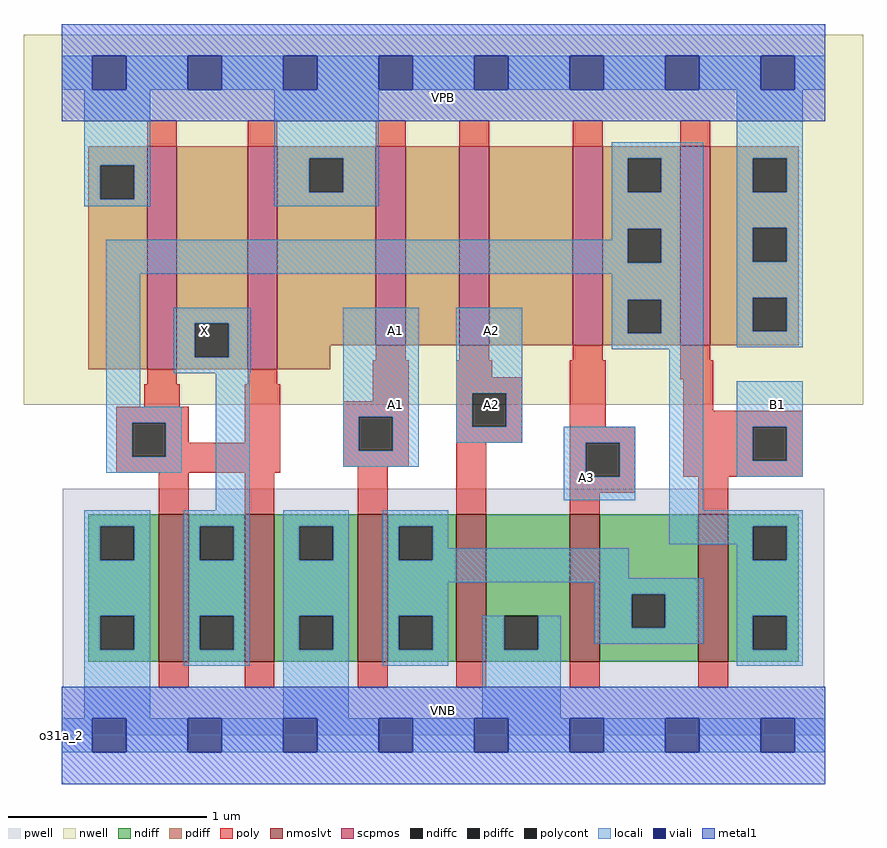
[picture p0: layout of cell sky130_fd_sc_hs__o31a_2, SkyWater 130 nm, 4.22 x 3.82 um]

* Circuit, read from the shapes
.subckt sky130_fd_sc_hs__o31a_2 A1 A2 A3 B1 VGND VNB VPB VPWR X
XM1 X n1 VGND VNB sky130_fd_pr__nfet_01v8_lvt w=0.74 l=0.15 m=2
XM2 n2 A1 VGND VNB sky130_fd_pr__nfet_01v8_lvt w=0.74 l=0.15
XM3 VGND A2 n2 VNB sky130_fd_pr__nfet_01v8_lvt w=0.74 l=0.15
XM4 n2 A3 VGND VNB sky130_fd_pr__nfet_01v8_lvt w=0.74 l=0.15
XM5 n1 B1 n2 VNB sky130_fd_pr__nfet_01v8_lvt w=0.74 l=0.15
XM6 X n1 VPWR VPB sky130_fd_pr__pfet_01v8 w=1.12 l=0.15 m=2
XM7 n3 A1 VPWR VPB sky130_fd_pr__pfet_01v8 w=1 l=0.15
XM8 n4 A2 n3 VPB sky130_fd_pr__pfet_01v8 w=1 l=0.15
XM9 n1 A3 n4 VPB sky130_fd_pr__pfet_01v8 w=1 l=0.15
XM10 VPWR B1 n1 VPB sky130_fd_pr__pfet_01v8 w=1 l=0.15
.ends

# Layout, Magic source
magic
tech sky130A
magscale 1 2
<< nwell >>
rect -38 332 806 704
<< pwell >>
rect 1 49 767 248
rect 0 0 768 49
<< scpmos >>
rect 86 368 116 592
rect 187 368 217 592
rect 316 392 346 592
rect 400 392 430 592
rect 514 392 544 592
rect 622 392 652 592
<< nmoslvt >>
rect 98 74 128 222
rect 184 74 214 222
rect 298 74 328 222
rect 397 74 427 222
rect 511 74 541 222
rect 640 74 670 222
<< ndiff >>
rect 27 210 98 222
rect 27 176 39 210
rect 73 176 98 210
rect 27 120 98 176
rect 27 86 39 120
rect 73 86 98 120
rect 27 74 98 86
rect 128 210 184 222
rect 128 176 139 210
rect 173 176 184 210
rect 128 120 184 176
rect 128 86 139 120
rect 173 86 184 120
rect 128 74 184 86
rect 214 210 298 222
rect 214 176 239 210
rect 273 176 298 210
rect 214 120 298 176
rect 214 86 239 120
rect 273 86 298 120
rect 214 74 298 86
rect 328 210 397 222
rect 328 176 339 210
rect 373 176 397 210
rect 328 120 397 176
rect 328 86 339 120
rect 373 86 397 120
rect 328 74 397 86
rect 427 120 511 222
rect 427 86 445 120
rect 479 86 511 120
rect 427 74 511 86
rect 541 142 640 222
rect 541 108 573 142
rect 607 108 640 142
rect 541 74 640 108
rect 670 210 741 222
rect 670 176 695 210
rect 729 176 741 210
rect 670 120 741 176
rect 670 86 695 120
rect 729 86 741 120
rect 670 74 741 86
<< pdiff >>
rect 27 573 86 592
rect 27 539 39 573
rect 73 539 86 573
rect 27 368 86 539
rect 116 414 187 592
rect 116 380 134 414
rect 168 380 187 414
rect 116 368 187 380
rect 217 580 316 592
rect 217 546 249 580
rect 283 546 316 580
rect 217 392 316 546
rect 346 392 400 592
rect 430 392 514 592
rect 544 580 622 592
rect 544 546 569 580
rect 603 546 622 580
rect 544 509 622 546
rect 544 475 569 509
rect 603 475 622 509
rect 544 438 622 475
rect 544 404 569 438
rect 603 404 622 438
rect 544 392 622 404
rect 652 580 741 592
rect 652 546 695 580
rect 729 546 741 580
rect 652 510 741 546
rect 652 476 695 510
rect 729 476 741 510
rect 652 440 741 476
rect 652 406 695 440
rect 729 406 741 440
rect 652 392 741 406
rect 217 368 270 392
<< ndiffc >>
rect 39 176 73 210
rect 39 86 73 120
rect 139 176 173 210
rect 139 86 173 120
rect 239 176 273 210
rect 239 86 273 120
rect 339 176 373 210
rect 339 86 373 120
rect 445 86 479 120
rect 573 108 607 142
rect 695 176 729 210
rect 695 86 729 120
<< pdiffc >>
rect 39 539 73 573
rect 134 380 168 414
rect 249 546 283 580
rect 569 546 603 580
rect 569 475 603 509
rect 569 404 603 438
rect 695 546 729 580
rect 695 476 729 510
rect 695 406 729 440
<< poly >>
rect 86 592 116 618
rect 187 592 217 618
rect 316 592 346 618
rect 400 592 430 618
rect 514 592 544 618
rect 622 592 652 618
rect 316 377 346 392
rect 400 377 430 392
rect 514 377 544 392
rect 622 377 652 392
rect 86 353 116 368
rect 187 353 217 368
rect 83 330 119 353
rect 55 314 128 330
rect 55 280 71 314
rect 105 294 128 314
rect 184 294 220 353
rect 313 336 349 377
rect 105 280 220 294
rect 55 264 220 280
rect 283 320 349 336
rect 283 286 299 320
rect 333 286 349 320
rect 283 270 349 286
rect 397 360 433 377
rect 397 344 463 360
rect 397 310 413 344
rect 447 310 463 344
rect 397 294 463 310
rect 511 310 547 377
rect 622 358 655 377
rect 625 326 655 358
rect 625 310 745 326
rect 511 294 577 310
rect 98 222 128 264
rect 184 222 214 264
rect 298 222 328 270
rect 397 222 427 294
rect 511 260 527 294
rect 561 260 577 294
rect 625 276 695 310
rect 729 276 745 310
rect 625 260 745 276
rect 511 244 577 260
rect 511 222 541 244
rect 640 222 670 260
rect 98 48 128 74
rect 184 48 214 74
rect 298 48 328 74
rect 397 48 427 74
rect 511 48 541 74
rect 640 48 670 74
<< polycont >>
rect 71 280 105 314
rect 299 286 333 320
rect 413 310 447 344
rect 527 260 561 294
rect 695 276 729 310
<< locali >>
rect 0 649 31 683
rect 65 649 127 683
rect 161 649 223 683
rect 257 649 319 683
rect 353 649 415 683
rect 449 649 511 683
rect 545 649 607 683
rect 641 649 703 683
rect 737 649 768 683
rect 23 573 89 649
rect 23 539 39 573
rect 73 539 89 573
rect 23 532 89 539
rect 214 580 319 649
rect 214 546 249 580
rect 283 546 319 580
rect 214 532 319 546
rect 553 580 645 596
rect 553 546 569 580
rect 603 546 645 580
rect 553 509 645 546
rect 553 498 569 509
rect 45 475 569 498
rect 603 475 645 509
rect 45 464 645 475
rect 45 330 79 464
rect 553 438 645 464
rect 113 414 190 430
rect 113 380 134 414
rect 168 380 190 414
rect 113 364 190 380
rect 45 314 121 330
rect 45 280 71 314
rect 105 280 121 314
rect 45 264 121 280
rect 155 226 189 364
rect 283 320 359 430
rect 283 286 299 320
rect 333 286 359 320
rect 397 344 463 430
rect 553 404 569 438
rect 603 404 645 438
rect 553 388 645 404
rect 679 580 745 649
rect 679 546 695 580
rect 729 546 745 580
rect 679 510 745 546
rect 679 476 695 510
rect 729 476 745 510
rect 679 440 745 476
rect 679 406 695 440
rect 729 406 745 440
rect 679 390 745 406
rect 397 310 413 344
rect 447 310 463 344
rect 397 294 463 310
rect 505 294 577 310
rect 283 270 359 286
rect 505 260 527 294
rect 561 260 577 294
rect 505 236 577 260
rect 611 226 645 388
rect 679 310 745 356
rect 679 276 695 310
rect 729 276 745 310
rect 679 260 745 276
rect 23 210 89 226
rect 23 176 39 210
rect 73 176 89 210
rect 23 120 89 176
rect 23 86 39 120
rect 73 86 89 120
rect 23 17 89 86
rect 123 210 189 226
rect 123 176 139 210
rect 173 176 189 210
rect 123 120 189 176
rect 123 86 139 120
rect 173 86 189 120
rect 123 70 189 86
rect 223 210 289 226
rect 223 176 239 210
rect 273 176 289 210
rect 223 120 289 176
rect 223 86 239 120
rect 273 86 289 120
rect 223 17 289 86
rect 323 210 389 226
rect 323 176 339 210
rect 373 188 389 210
rect 611 210 745 226
rect 611 192 695 210
rect 373 176 570 188
rect 323 158 570 176
rect 679 176 695 192
rect 729 176 745 210
rect 323 154 645 158
rect 323 120 389 154
rect 536 142 645 154
rect 323 86 339 120
rect 373 86 389 120
rect 323 70 389 86
rect 423 86 445 120
rect 479 86 502 120
rect 536 108 573 142
rect 607 108 645 142
rect 536 92 645 108
rect 679 120 745 176
rect 423 17 502 86
rect 679 86 695 120
rect 729 86 745 120
rect 679 70 745 86
rect 0 -17 31 17
rect 65 -17 127 17
rect 161 -17 223 17
rect 257 -17 319 17
rect 353 -17 415 17
rect 449 -17 511 17
rect 545 -17 607 17
rect 641 -17 703 17
rect 737 -17 768 17
<< viali >>
rect 31 649 65 683
rect 127 649 161 683
rect 223 649 257 683
rect 319 649 353 683
rect 415 649 449 683
rect 511 649 545 683
rect 607 649 641 683
rect 703 649 737 683
rect 31 -17 65 17
rect 127 -17 161 17
rect 223 -17 257 17
rect 319 -17 353 17
rect 415 -17 449 17
rect 511 -17 545 17
rect 607 -17 641 17
rect 703 -17 737 17
<< metal1 >>
rect 0 683 768 715
rect 0 649 31 683
rect 65 649 127 683
rect 161 649 223 683
rect 257 649 319 683
rect 353 649 415 683
rect 449 649 511 683
rect 545 649 607 683
rect 641 649 703 683
rect 737 649 768 683
rect 0 617 768 649
rect 0 17 768 49
rect 0 -17 31 17
rect 65 -17 127 17
rect 161 -17 223 17
rect 257 -17 319 17
rect 353 -17 415 17
rect 449 -17 511 17
rect 545 -17 607 17
rect 641 -17 703 17
rect 737 -17 768 17
rect 0 -49 768 -17
<< labels >>
rlabel comment s 0 0 0 0 4 o31a_2
flabel pwell s 0 0 768 49 0 FreeSans 200 0 0 0 VNB
port 6 nsew ground bidirectional
flabel nwell s 0 617 768 666 0 FreeSans 200 0 0 0 VPB
port 7 nsew power bidirectional
flabel metal1 s 0 617 768 666 0 FreeSans 340 0 0 0 VPWR
port 8 nsew power bidirectional
flabel metal1 s 0 0 768 49 0 FreeSans 340 0 0 0 VGND
port 5 nsew ground bidirectional
flabel locali s 703 316 737 350 0 FreeSans 340 0 0 0 B1
port 4 nsew signal input
flabel locali s 511 242 545 276 0 FreeSans 340 0 0 0 A3
port 3 nsew signal input
flabel locali s 415 316 449 350 0 FreeSans 340 0 0 0 A2
port 2 nsew signal input
flabel locali s 415 390 449 424 0 FreeSans 340 0 0 0 A2
port 2 nsew signal input
flabel locali s 319 316 353 350 0 FreeSans 340 0 0 0 A1
port 1 nsew signal input
flabel locali s 319 390 353 424 0 FreeSans 340 0 0 0 A1
port 1 nsew signal input
flabel locali s 127 390 161 424 0 FreeSans 340 0 0 0 X
port 9 nsew signal output
<< properties >>
string LEFsite unit
string LEFclass CORE
string FIXED_BBOX 0 0 768 666
string GDS_FILE $PDKPATH/libs.ref/sky130_fd_sc_hs/gds/sky130_fd_sc_hs.gds
string LEFsymmetry X Y
string GDS_END 1229286
string GDS_START 1222472
<< end >>
